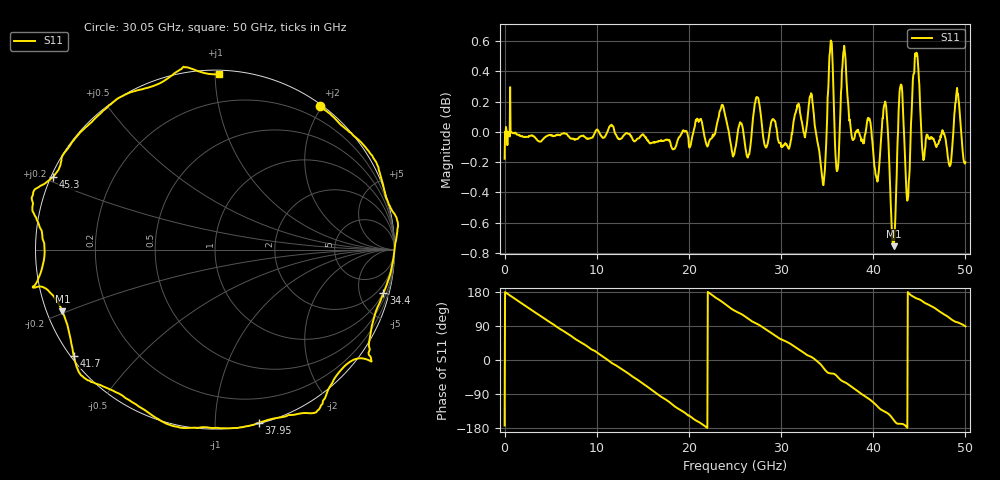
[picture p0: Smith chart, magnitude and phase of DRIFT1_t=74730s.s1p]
!Created with skrf (http://scikit-rf.org).
# Hz S RI R 50.0
!freq ReS11 ImS11
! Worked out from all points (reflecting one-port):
!   1001 points, 300 kHz to 50 GHz, reference 50 ohm
!   lowest |S11| = -0.8 dB at 42.2 GHz (marker M1), VSWR 23.03, Z = 2.25 - j9.71 ohm
!   phase of S11 starts at -173 deg and turns -818 deg over the sweep
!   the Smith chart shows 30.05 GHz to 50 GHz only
!   S11 on the Smith chart (normalised r, x): 30.05 GHz: 0.03, +1.97; 34.4 GHz: 0.98, -7.77; 37.95 GHz: 0.01, -1.29; 41.7 GHz: 0.01, -0.33; 45.3 GHz: 0.01, +0.21; 50 GHz: 0.02, +1.02
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300000  -0.9721 -0.1224
1.450291e9  -0.9124 0.4041
3.25028e9  -0.5929 0.8003
6.250262e9  0.1988 0.9787
9.500243e9  0.8876 0.4513
1.250022e10  0.9299 -0.3521
1.580021e10  0.2419 -0.9613
1.74002e10  -0.2237 -0.9681
1.875019e10  -0.5992 -0.792
2.165017e10  -0.9905 -0.122
2.345016e10  -0.9299 0.4128
2.500015e10  -0.6277 0.7616
2.745014e10  -0.083 1.023
3.005012e10  0.5831 0.7983
3.125011e10  0.7807 0.6279
3.31501e10  1.013 0.1714
3.440009e10  0.9385 -0.2416
3.520009e10  0.8656 -0.5953
3.750008e10  0.3779 -0.9326
3.795007e10  0.2451 -0.9644
3.960006e10  -0.2388 -0.9814
4.170005e10  -0.7875 -0.5905
4.220005e10  -0.8498 -0.3438
4.290004e10  -1.011 -0.2126
4.375004e10  -0.9505 0.0119
4.530003e10  -0.9013 0.4059
4.765001e10  -0.5127 0.8568
5e10  0.0198 0.977
